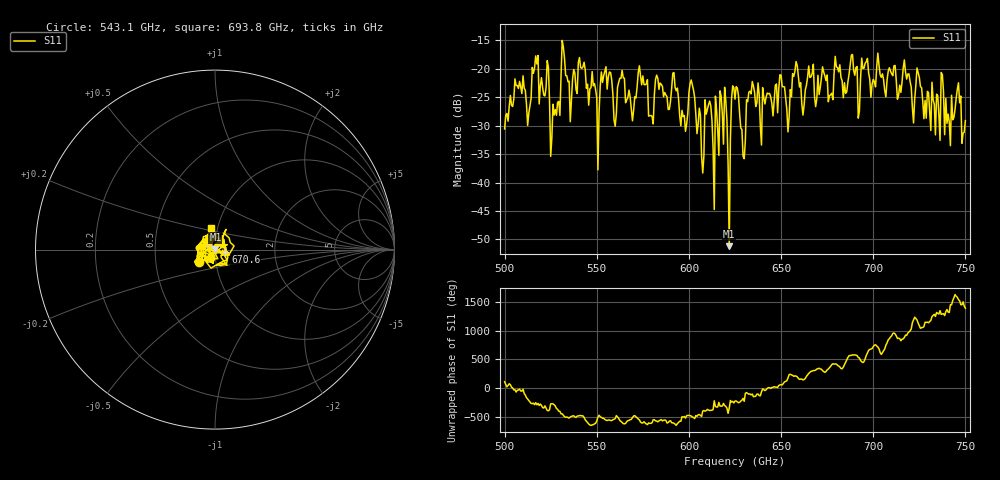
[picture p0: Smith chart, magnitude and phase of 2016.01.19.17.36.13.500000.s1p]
!Created with skrf (http://scikit-rf.org).
# GHz S RI R 50.0
!freq ReS11 ImS11
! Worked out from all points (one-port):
!   401 points, 500 GHz to 750 GHz, reference 50 ohm
!   lowest |S11| = -51.2 dB at 621.9 GHz (marker M1), VSWR 1.01, Z = 50.3 + j0.092 ohm
!   |S11| at or under -10 dB: start of sweep to end of sweep
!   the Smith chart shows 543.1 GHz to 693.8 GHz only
!   S11 on the Smith chart (normalised r, x): 543.1 GHz: 0.83, -0.12; 670.6 GHz: 1.12, -0.03; 693.8 GHz: 0.93, +0.23
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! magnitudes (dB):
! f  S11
! 500 GHz  -30.6
! 506.9 GHz  -23.0
! 513.1 GHz  -27.8
! 516.9 GHz  -17.8
! 526.2 GHz  -26.3
! 531.2 GHz  -15.0
! 543.1 GHz  -18.9
! 550.6 GHz  -37.8
! 553.8 GHz  -21.2
! 560 GHz  -30.1
! 562.5 GHz  -21.7
! 573.8 GHz  -21.3
! 579.4 GHz  -28.2
! 583.1 GHz  -21.7
! 593.8 GHz  -23.4
! 601.9 GHz  -22.9
! 606.9 GHz  -35.4
! 618.1 GHz  -27.9
! 621.9 GHz  -51.2
! 625 GHz  -25.4
! 629.4 GHz  -35.4
! 633.8 GHz  -24.4
! 656.2 GHz  -20.9
! 670.6 GHz  -24.6
! 687.5 GHz  -19.4
! 693.8 GHz  -18.1
! 718.8 GHz  -20.9
! 750 GHz  -29.1
